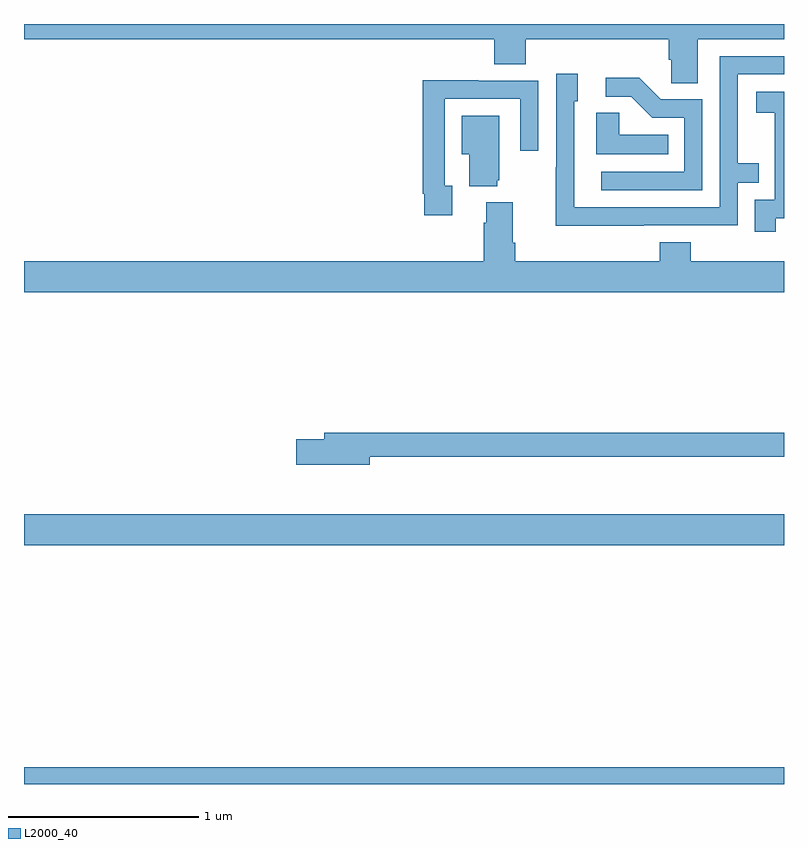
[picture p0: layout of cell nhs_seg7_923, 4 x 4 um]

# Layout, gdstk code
import gdstk
lib = gdstk.Library(unit=1e-6, precision=1e-09)
def R(c, l, rs):  # rectangles x0, y0, x1, y1
    for r in rs: c.add(gdstk.rectangle(r[:2], r[2:], *l))
def P(c, l, *ps):  # polygons
    for p in ps: c.add(gdstk.Polygon(p, *l))
L2000_40 = (2000, 40)

nhs_seg7_923 = lib.new_cell('nhs_seg7_923')
R(nhs_seg7_923, L2000_40, [(179,1026,183,1026.088), (179,1027.256,183,1027.42)])
P(nhs_seg7_923, L2000_40, [(179,1029.92),(181.475,1029.92),(181.475,1029.787),(181.64,1029.787),(181.64,1029.92),(182.393,1029.92),(182.393,1029.811),(182.406,1029.811),(182.406,1029.688),(182.545,1029.688),(182.545,1029.92),(183,1029.92),(183,1030),(179,1030)],
  [(182.261,1028.94),(182.757,1028.94),(182.757,1029.165),(182.867,1029.165),(182.867,1029.266),(182.757,1029.266),(182.757,1029.735),(183,1029.735),(183,1029.831),(182.661,1029.831),(182.661,1029.036),(181.896,1029.036),(181.896,1029.594),(181.915,1029.594),(181.915,1029.739),(181.8,1029.739),(181.8,1029.245),(181.798,1029.245),(181.798,1028.939),(182.261,1028.939)],
  [(182.571,1029.603),(182.352,1029.603),(182.239,1029.716),(182.061,1029.716),(182.061,1029.618),(182.195,1029.618),(182.306,1029.507),(182.475,1029.507),(182.475,1029.222),(182.037,1029.222),(182.037,1029.126),(182.571,1029.126)],
  [(181.255,1029.15),(181.215,1029.15),(181.215,1029.606),(181.611,1029.606),(181.611,1029.333),(181.707,1029.333),(181.707,1029.702),(181.391,1029.702),(181.391,1029.704),(181.099,1029.704),(181.099,1029.106),(181.107,1029.106),(181.107,1028.994),(181.255,1028.994)],
  [(182.956,1028.977),(183,1028.977),(183,1029.643),(182.853,1029.643),(182.853,1029.533),(182.951,1029.533),(182.951,1029.305),(182.952,1029.305),(182.952,1029.075),(182.847,1029.075),(182.847,1028.907),(182.956,1028.907)],
  [(182.39,1029.418),(182.133,1029.418),(182.133,1029.533),(182.012,1029.533),(182.012,1029.314),(182.39,1029.314)],
  [(181.49,1029.177),(181.501,1029.177),(181.501,1029.517),(181.304,1029.517),(181.304,1029.314),(181.343,1029.314),(181.343,1029.146),(181.49,1029.146)],
  [(183,1028.752),(182.51,1028.752),(182.51,1028.851),(182.345,1028.851),(182.345,1028.752),(181.586,1028.752),(181.586,1028.848),(181.573,1028.848),(181.573,1029.061),(181.433,1029.061),(181.433,1028.954),(181.421,1028.954),(181.421,1028.752),(179,1028.752),(179,1028.588),(183,1028.588)],
  [(180.82,1027.722),(183,1027.722),(183,1027.85),(180.581,1027.85),(180.581,1027.814),(180.432,1027.814),(180.432,1027.679),(180.82,1027.679)])

lib.write_gds('nhs_seg7_923.gds')
